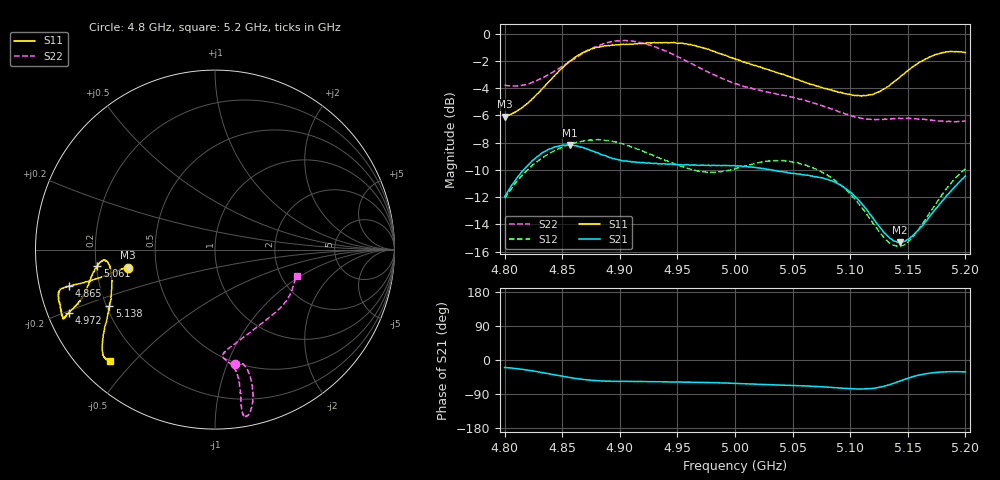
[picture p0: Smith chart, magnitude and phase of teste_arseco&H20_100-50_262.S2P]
! Network Analyzer HP8722D
! Hewlett-Packard
! Data name: Linha & Wilkinson
! Saver's name: Rodrigo Anjos
! Comments: Teste da utilização de aquisição
! continua pelo VNA HP8722D
! Time and date: 6/5/2025 14:45
!  Frequency  S11  S21  S12  S22
# HZ  S  MA R 50
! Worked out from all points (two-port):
!   401 points, 4.8 GHz to 5.2 GHz, reference 50 ohm
!   highest |S21| = -8.17 dB at 4.857 GHz (marker M1); lowest = -15.3 dB at 5.143 GHz (marker M2)
!   |S21| within 3 dB of the highest: 4.806 GHz to 5.092 GHz (286.6 MHz wide, 5.79 % of centre); 5.191738 GHz to end of sweep
!   lowest |S11| = -6.1 dB at 4.8 GHz (marker M3), VSWR 2.97, Z = 17 - j4.57 ohm
!   |S11| at or under -10 dB: nowhere
!   |S22| runs from -6.5 to -0.5 dB; largest |S21 - S12| = 0.62
!   S11 on the Smith chart (normalised r, x): 4.8 GHz: 0.34, -0.09; 4.865 GHz: 0.09, -0.12; 4.972 GHz: 0.06, -0.21; 5.061 GHz: 0.20, -0.07; 5.138 GHz: 0.21, -0.24; 5.2 GHz: 0.09, -0.43
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4.8e9  0.4967 -168.2  0.2521 -19.8  0.2488 -141.0  0.6474 -80.3
4.829e9  0.6035 -166.9  0.3552 -31.2  0.3413 -145.1  0.6771 -75.3
4.857e9  0.7957 -166.0  0.3905 -46.4  0.3925 -150.4  0.7929 -74.7
4.865e9  0.8382 -166.0  0.3845 -50.0  0.4011 -151.8  0.8331 -75.2
4.867e9  0.8488 -165.9  0.3834 -50.8  0.4027 -152.1  0.843 -75.4
4.88e9  0.8916 -165.5  0.3662 -54.6  0.4084 -154.2  0.8988 -76.8
4.903e9  0.9168 -161.9  0.3412 -56.4  0.394 -156.8  0.9445 -79.5
4.934e9  0.9286 -156.5  0.3331 -57.5  0.3508 -155.8  0.8828 -80.5
4.949e9  0.9257 -155.5  0.3315 -57.8  0.3312 -153.0  0.8289 -80.0
4.972e9  0.8884 -156.4  0.3292 -58.9  0.3112 -146.2  0.7414 -79.6
5e9  0.8082 -159.0  0.3276 -61.8  0.3195 -137.2  0.656 -81.3
5.034e9  0.7269 -165.2  0.3148 -65.8  0.342 -134.3  0.6038 -85.5
5.061e9  0.6619 -172.0  0.3027 -68.4  0.3294 -136.3  0.5691 -84.1
5.067e9  0.6518 -173.1  0.3006 -69.1  0.3224 -136.8  0.5589 -82.7
5.084e9  0.6221 -174.6  0.289 -72.5  0.295 -138.3  0.5294 -76.2
5.103e9  0.5951 -171.5  0.2554 -76.0  0.25 -138.7  0.4974 -65.2
5.134e9  0.6452 -154.3  0.178 -65.3  0.1705 -120.7  0.4866 -43.3
5.138e9  0.6671 -151.9  0.1733 -61.1  0.167 -115.6  0.488 -40.9
5.143e9  0.6936 -149.2  0.1712 -55.6  0.166 -109.0  0.4893 -38.0
5.154e9  0.7565 -144.5  0.1807 -44.4  0.1788 -95.1  0.4881 -32.3
5.173e9  0.8345 -138.9  0.2241 -33.3  0.233 -80.8  0.4806 -24.3
5.2e9  0.8524 -133.5  0.3003 -31.3  0.319 -76.9  0.4783 -17.6
